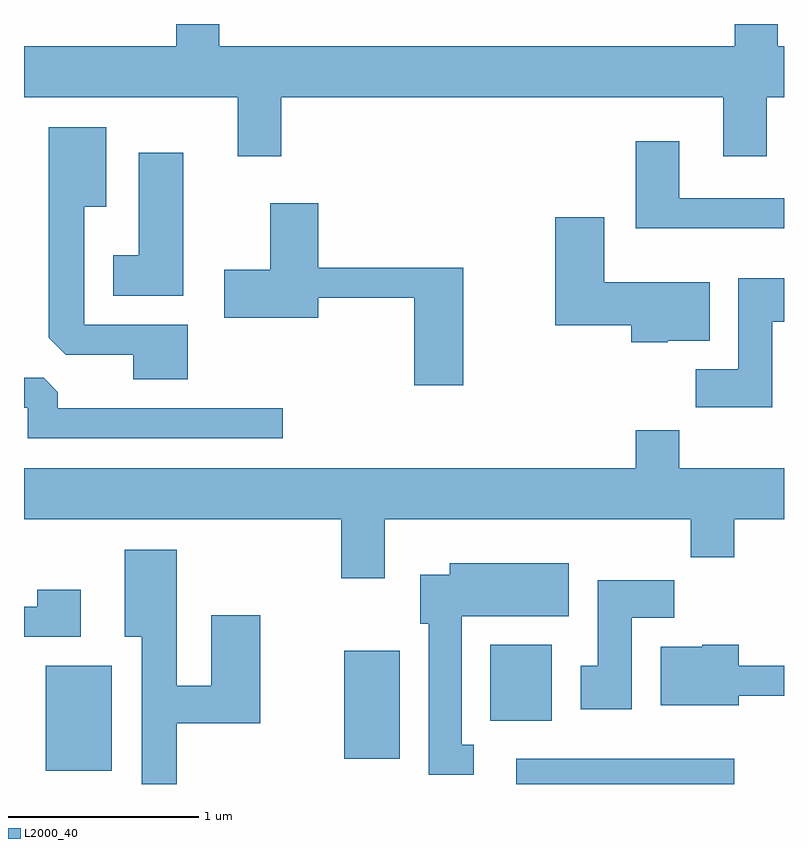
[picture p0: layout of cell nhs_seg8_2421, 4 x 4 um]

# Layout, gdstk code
import gdstk
lib = gdstk.Library(unit=1e-6, precision=1e-09)
def R(c, l, rs):  # rectangles x0, y0, x1, y1
    for r in rs: c.add(gdstk.rectangle(r[:2], r[2:], *l))
def P(c, l, *ps):  # polygons
    for p in ps: c.add(gdstk.Polygon(p, *l))
L2000_40 = (2000, 40)

nhs_seg8_2421 = lib.new_cell('nhs_seg8_2421')
R(nhs_seg8_2421, L2000_40, [(260.201,1848.342,261.349,1848.474), (257.726,1848.411,258.074,1848.964), (259.296,1848.476,259.589,1849.044), (260.066,1848.676,260.389,1849.074)])
P(nhs_seg8_2421, L2000_40, [(258.964,1851.956),(261.291,1851.956),(261.291,1851.646),(261.519,1851.646),(261.519,1851.956),(261.611,1851.956),(261.611,1852.224),(261.579,1852.224),(261.579,1852.342),(261.351,1852.342),(261.351,1852.224),(258.639,1852.224),(258.639,1852.342),(258.411,1852.342),(258.411,1852.224),(257.611,1852.224),(257.611,1851.956),(258.736,1851.956),(258.736,1851.646),(258.964,1851.646)],
  [(258.474,1850.759),(257.929,1850.759),(257.929,1851.381),(258.044,1851.381),(258.044,1851.799),(257.741,1851.799),(257.741,1850.692),(257.832,1850.601),(258.186,1850.601),(258.186,1850.471),(258.474,1850.471)],
  [(261.611,1851.424),(261.059,1851.424),(261.059,1851.724),(260.831,1851.724),(260.831,1851.266),(261.611,1851.266)],
  [(258.449,1851.664),(258.216,1851.664),(258.216,1851.124),(258.081,1851.124),(258.081,1850.911),(258.449,1850.911)],
  [(259.924,1851.059),(259.159,1851.059),(259.159,1851.399),(258.906,1851.399),(258.906,1851.049),(258.666,1851.049),(258.666,1850.796),(259.159,1850.796),(259.159,1850.901),(259.666,1850.901),(259.666,1850.441),(259.924,1850.441)],
  [(261,1850.676),(261.219,1850.676),(261.219,1850.984),(260.664,1850.984),(260.664,1851.324),(260.406,1851.324),(260.406,1850.756),(260.806,1850.756),(260.806,1850.666),(261,1850.666)],
  [(261.549,1850.776),(261.611,1850.776),(261.611,1851.004),(261.371,1851.004),(261.371,1850.524),(261.146,1850.524),(261.146,1850.326),(261.549,1850.326)],
  [(258.973,1850.319),(257.789,1850.319),(257.789,1850.404),(257.714,1850.479),(257.611,1850.479),(257.611,1850.321),(257.631,1850.321),(257.631,1850.161),(258.973,1850.161)],
  [(259.509,1849.736),(261.121,1849.736),(261.121,1849.536),(261.349,1849.536),(261.349,1849.736),(261.611,1849.736),(261.611,1850.004),(261.059,1850.004),(261.059,1850.204),(260.831,1850.204),(260.831,1850.004),(257.611,1850.004),(257.611,1849.736),(259.281,1849.736),(259.281,1849.426),(259.509,1849.426)],
  [(258.414,1848.661),(258.854,1848.661),(258.854,1849.229),(258.596,1849.229),(258.596,1848.859),(258.414,1848.859),(258.414,1849.574),(258.141,1849.574),(258.141,1849.116),(258.231,1849.116),(258.231,1848.342),(258.414,1848.342)],
  [(259.978,1848.549),(259.914,1848.549),(259.914,1849.226),(260.479,1849.226),(260.479,1849.504),(259.851,1849.504),(259.851,1849.444),(259.696,1849.444),(259.696,1849.186),(259.741,1849.186),(259.741,1848.391),(259.978,1848.391)],
  [(260.809,1849.216),(261.034,1849.216),(261.034,1849.414),(260.631,1849.414),(260.631,1848.964),(260.541,1848.964),(260.541,1848.736),(260.809,1848.736)],
  [(257.909,1849.364),(257.681,1849.364),(257.681,1849.274),(257.611,1849.274),(257.611,1849.116),(257.909,1849.116)],
  [(261.374,1848.806),(261.611,1848.806),(261.611,1848.964),(261.374,1848.964),(261.374,1849.074),(261.18,1849.074),(261.18,1849.064),(260.961,1849.064),(260.961,1848.756),(261.374,1848.756)])

lib.write_gds('nhs_seg8_2421.gds')
